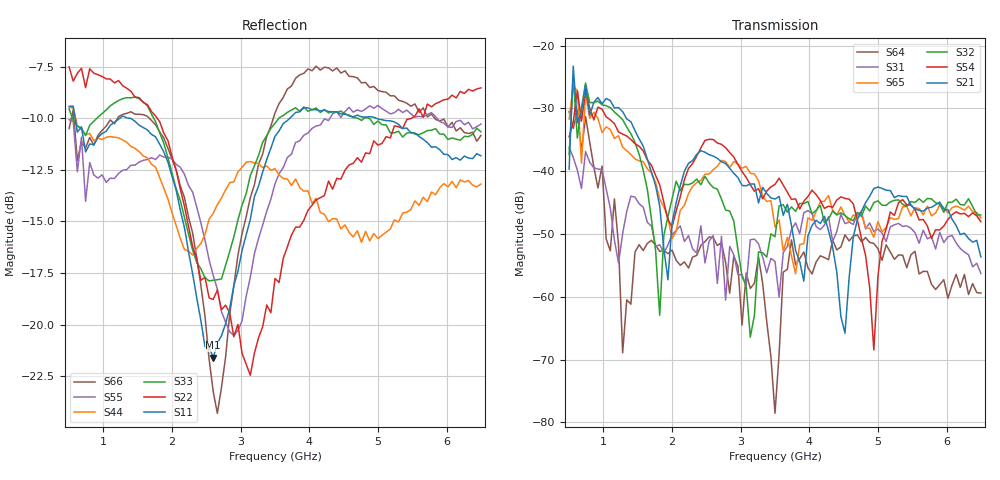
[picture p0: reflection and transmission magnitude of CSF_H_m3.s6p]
!Keysight Technologies,M9804A,MY58100912,A.14.10.03
!Date: Thursday, April 27, 2023 10:28:33
!Correction: S11(C  6-Port  )
!S12(C  6-Port  )
!S13(C  6-Port  )
!S14(C  6-Port  )
!S15(C  6-Port  )
!S16(C  6-Port  )
!S21(C  6-Port  )
!S22(C  6-Port  )
!S23(C  6-Port  )
!S24(C  6-Port  )
!S25(C  6-Port  )
!S26(C  6-Port  )
!S31(C  6-Port  )
!S32(C  6-Port  )
!S33(C  6-Port  )
!S34(C  6-Port  )
!S35(C  6-Port  )
!S36(C  6-Port  )
!S41(C  6-Port  )
!S42(C  6-Port  )
!S43(C  6-Port  )
!S44(C  6-Port  )
!S45(C  6-Port  )
!S46(C  6-Port  )
!S51(C  6-Port  )
!S52(C  6-Port  )
!S53(C  6-Port  )
!S54(C  6-Port  )
!S55(C  6-Port  )
!S56(C  6-Port  )
!S61(C  6-Port  )
!S62(C  6-Port  )
!S63(C  6-Port  )
!S64(C  6-Port  )
!S65(C  6-Port  )
!S66(C  6-Port  )
!S6P File: Measurement: :
# Hz S  RI  R 50
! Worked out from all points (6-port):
!   101 points, 500 MHz to 6.5 GHz, reference 50 ohm
!   strongest paths, dB at 500 MHz, 2 GHz, 3.5 GHz, 5 GHz, 6.5 GHz:
!     S21: -39.7, -48.3, -44.4, -42.5, -53.7
!     S54: -34.5, -48.9, -42.1, -56.7, -48.0
!     S32: -37.4, -44.4, -50.4, -44.7, -47.0
!     S65: -31.7, -50.7, -48.9, -48.0, -47.4
!     S31: -36.3, -50.1, -54.4, -49.2, -56.3
!     S64: -30.5, -52.6, -78.6, -52.4, -59.4
!   lowest |S11| = -21.6 dB at 2.6 GHz (marker M1), VSWR 1.18, Z = 42.6 + j2.06 ohm
!   |S11| at or under -10 dB: 587.9 MHz to 1.238 GHz (649.7 MHz wide, 71.2 % of centre); 1.385 GHz to 3.715 GHz (2.33 GHz wide, 91.4 % of centre); 4.976 GHz to end of sweep
